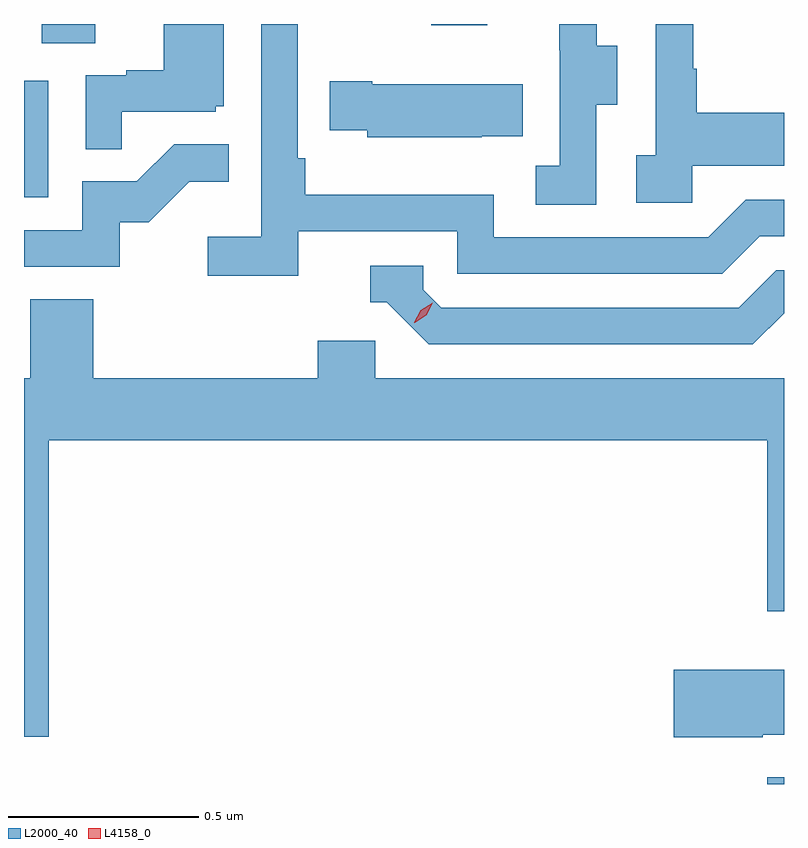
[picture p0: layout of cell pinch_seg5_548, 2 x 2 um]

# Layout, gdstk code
import gdstk
lib = gdstk.Library(unit=1e-6, precision=1e-09)
def R(c, l, rs):  # rectangles x0, y0, x1, y1
    for r in rs: c.add(gdstk.rectangle(r[:2], r[2:], *l))
def P(c, l, *ps):  # polygons
    for p in ps: c.add(gdstk.Polygon(p, *l))
L2000_40 = (2000, 40)
L4158_0 = (4158, 0)

pinch_seg5_548 = lib.new_cell('pinch_seg5_548')
R(pinch_seg5_548, L2000_40, [(975.012,841.204,975.056,841.222), (973.056,842.748,973.12,843.055), (973.103,843.154,973.243,843.204), (974.128,843.201,974.275,843.204)])
P(pinch_seg5_548, L2000_40, [(974.814,842.831),(975.056,842.831),(975.056,842.971),(974.827,842.971),(974.827,843.086),(974.817,843.086),(974.817,843.204),(974.718,843.204),(974.718,842.858),(974.667,842.858),(974.667,842.733),(974.814,842.733)],
  [(974.562,842.992),(974.617,842.992),(974.617,843.147),(974.563,843.147),(974.563,843.204),(974.465,843.204),(974.465,843.135),(974.466,843.135),(974.466,842.831),(974.403,842.831),(974.403,842.728),(974.562,842.728)],
  [(973.313,842.973),(973.56,842.973),(973.56,842.988),(973.582,842.988),(973.582,843.204),(973.424,843.204),(973.424,843.082),(973.325,843.082),(973.325,843.069),(973.218,843.069),(973.218,842.875),(973.313,842.875)],
  [(973.778,842.658),(974.196,842.658),(974.196,842.547),(974.893,842.547),(974.992,842.646),(975.056,842.646),(975.056,842.742),(974.955,842.742),(974.856,842.643),(974.292,842.643),(974.292,842.755),(973.796,842.755),(973.796,842.851),(973.776,842.851),(973.776,843.204),(973.68,843.204),(973.68,842.644),(973.539,842.644),(973.539,842.542),(973.778,842.542)],
  [(974.261,842.909),(974.369,842.909),(974.369,843.046),(973.972,843.046),(973.972,843.054),(973.861,843.054),(973.861,842.924),(973.959,842.924),(973.959,842.906),(974.261,842.906)],
  [(973.308,842.682),(973.384,842.682),(973.491,842.789),(973.595,842.789),(973.595,842.888),(973.451,842.888),(973.353,842.79),(973.209,842.79),(973.209,842.661),(973.056,842.661),(973.056,842.565),(973.308,842.565)],
  [(975.056,842.443),(975.056,842.556),(975.036,842.556),(974.937,842.457),(974.154,842.457),(974.106,842.505),(974.106,842.568),(973.967,842.568),(973.967,842.472),(974.01,842.472),(974.121,842.361),(974.974,842.361)],
  [(973.121,842.108),(975.012,842.108),(975.012,841.659),(975.056,841.659),(975.056,842.272),(973.98,842.272),(973.98,842.37),(973.829,842.37),(973.829,842.272),(973.238,842.272),(973.238,842.48),(973.073,842.48),(973.073,842.272),(973.056,842.272),(973.056,841.329),(973.121,841.329)],
  [(975,841.334),(975.056,841.334),(975.056,841.505),(974.766,841.505),(974.766,841.327),(975,841.327)])
P(pinch_seg5_548, L4158_0, [(974.083,842.418),(974.083,842.419),(974.1,842.451),(974.131,842.47),(974.131,842.47),(974.131,842.47),(974.115,842.437),(974.084,842.418)])

lib.write_gds('pinch_seg5_548.gds')
